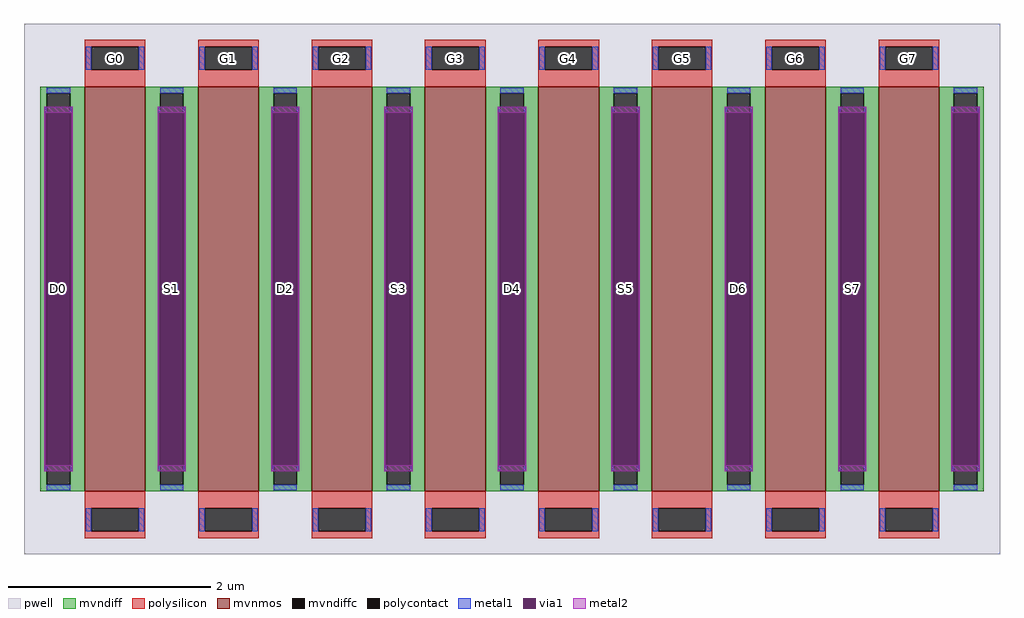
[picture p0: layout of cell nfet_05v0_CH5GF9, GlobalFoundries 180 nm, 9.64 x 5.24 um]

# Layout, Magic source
magic
tech gf180mcuD
magscale 1 10
<< pwell >>
rect -964 -524 964 524
<< mvnmos >>
rect -844 -400 -724 400
rect -620 -400 -500 400
rect -396 -400 -276 400
rect -172 -400 -52 400
rect 52 -400 172 400
rect 276 -400 396 400
rect 500 -400 620 400
rect 724 -400 844 400
<< mvndiff >>
rect -932 387 -844 400
rect -932 -387 -919 387
rect -873 -387 -844 387
rect -932 -400 -844 -387
rect -724 387 -620 400
rect -724 -387 -695 387
rect -649 -387 -620 387
rect -724 -400 -620 -387
rect -500 387 -396 400
rect -500 -387 -471 387
rect -425 -387 -396 387
rect -500 -400 -396 -387
rect -276 387 -172 400
rect -276 -387 -247 387
rect -201 -387 -172 387
rect -276 -400 -172 -387
rect -52 387 52 400
rect -52 -387 -23 387
rect 23 -387 52 387
rect -52 -400 52 -387
rect 172 387 276 400
rect 172 -387 201 387
rect 247 -387 276 387
rect 172 -400 276 -387
rect 396 387 500 400
rect 396 -387 425 387
rect 471 -387 500 387
rect 396 -400 500 -387
rect 620 387 724 400
rect 620 -387 649 387
rect 695 -387 724 387
rect 620 -400 724 -387
rect 844 387 932 400
rect 844 -387 873 387
rect 919 -387 932 387
rect 844 -400 932 -387
<< mvndiffc >>
rect -919 -387 -873 387
rect -695 -387 -649 387
rect -471 -387 -425 387
rect -247 -387 -201 387
rect -23 -387 23 387
rect 201 -387 247 387
rect 425 -387 471 387
rect 649 -387 695 387
rect 873 -387 919 387
<< polysilicon >>
rect -844 479 -724 492
rect -844 433 -831 479
rect -737 433 -724 479
rect -844 400 -724 433
rect -620 479 -500 492
rect -620 433 -607 479
rect -513 433 -500 479
rect -620 400 -500 433
rect -396 479 -276 492
rect -396 433 -383 479
rect -289 433 -276 479
rect -396 400 -276 433
rect -172 479 -52 492
rect -172 433 -159 479
rect -65 433 -52 479
rect -172 400 -52 433
rect 52 479 172 492
rect 52 433 65 479
rect 159 433 172 479
rect 52 400 172 433
rect 276 479 396 492
rect 276 433 289 479
rect 383 433 396 479
rect 276 400 396 433
rect 500 479 620 492
rect 500 433 513 479
rect 607 433 620 479
rect 500 400 620 433
rect 724 479 844 492
rect 724 433 737 479
rect 831 433 844 479
rect 724 400 844 433
rect -844 -433 -724 -400
rect -844 -479 -831 -433
rect -737 -479 -724 -433
rect -844 -492 -724 -479
rect -620 -433 -500 -400
rect -620 -479 -607 -433
rect -513 -479 -500 -433
rect -620 -492 -500 -479
rect -396 -433 -276 -400
rect -396 -479 -383 -433
rect -289 -479 -276 -433
rect -396 -492 -276 -479
rect -172 -433 -52 -400
rect -172 -479 -159 -433
rect -65 -479 -52 -433
rect -172 -492 -52 -479
rect 52 -433 172 -400
rect 52 -479 65 -433
rect 159 -479 172 -433
rect 52 -492 172 -479
rect 276 -433 396 -400
rect 276 -479 289 -433
rect 383 -479 396 -433
rect 276 -492 396 -479
rect 500 -433 620 -400
rect 500 -479 513 -433
rect 607 -479 620 -433
rect 500 -492 620 -479
rect 724 -433 844 -400
rect 724 -479 737 -433
rect 831 -479 844 -433
rect 724 -492 844 -479
<< polycontact >>
rect -831 433 -737 479
rect -607 433 -513 479
rect -383 433 -289 479
rect -159 433 -65 479
rect 65 433 159 479
rect 289 433 383 479
rect 513 433 607 479
rect 737 433 831 479
rect -831 -479 -737 -433
rect -607 -479 -513 -433
rect -383 -479 -289 -433
rect -159 -479 -65 -433
rect 65 -479 159 -433
rect 289 -479 383 -433
rect 513 -479 607 -433
rect 737 -479 831 -433
<< metal1 >>
rect -842 433 -831 479
rect -737 433 -726 479
rect -618 433 -607 479
rect -513 433 -502 479
rect -394 433 -383 479
rect -289 433 -278 479
rect -170 433 -159 479
rect -65 433 -54 479
rect 54 433 65 479
rect 159 433 170 479
rect 278 433 289 479
rect 383 433 394 479
rect 502 433 513 479
rect 607 433 618 479
rect 726 433 737 479
rect 831 433 842 479
rect -919 387 -873 398
rect -922 348 -919 360
rect -695 387 -649 398
rect -873 348 -870 360
rect -922 -360 -919 -348
rect -873 -360 -870 -348
rect -698 348 -695 360
rect -471 387 -425 398
rect -649 348 -646 360
rect -698 -360 -695 -348
rect -919 -398 -873 -387
rect -649 -360 -646 -348
rect -474 348 -471 360
rect -247 387 -201 398
rect -425 348 -422 360
rect -474 -360 -471 -348
rect -695 -398 -649 -387
rect -425 -360 -422 -348
rect -250 348 -247 360
rect -23 387 23 398
rect -201 348 -198 360
rect -250 -360 -247 -348
rect -471 -398 -425 -387
rect -201 -360 -198 -348
rect -26 348 -23 360
rect 201 387 247 398
rect 23 348 26 360
rect -26 -360 -23 -348
rect -247 -398 -201 -387
rect 23 -360 26 -348
rect 198 348 201 360
rect 425 387 471 398
rect 247 348 250 360
rect 198 -360 201 -348
rect -23 -398 23 -387
rect 247 -360 250 -348
rect 422 348 425 360
rect 649 387 695 398
rect 471 348 474 360
rect 422 -360 425 -348
rect 201 -398 247 -387
rect 471 -360 474 -348
rect 646 348 649 360
rect 873 387 919 398
rect 695 348 698 360
rect 646 -360 649 -348
rect 425 -398 471 -387
rect 695 -360 698 -348
rect 870 348 873 360
rect 919 348 922 360
rect 870 -360 873 -348
rect 649 -398 695 -387
rect 919 -360 922 -348
rect 873 -398 919 -387
rect -842 -479 -831 -433
rect -737 -479 -726 -433
rect -618 -479 -607 -433
rect -513 -479 -502 -433
rect -394 -479 -383 -433
rect -289 -479 -278 -433
rect -170 -479 -159 -433
rect -65 -479 -54 -433
rect 54 -479 65 -433
rect 159 -479 170 -433
rect 278 -479 289 -433
rect 383 -479 394 -433
rect 502 -479 513 -433
rect 607 -479 618 -433
rect 726 -479 737 -433
rect 831 -479 842 -433
<< via1 >>
rect -922 -348 -919 348
rect -919 -348 -873 348
rect -873 -348 -870 348
rect -698 -348 -695 348
rect -695 -348 -649 348
rect -649 -348 -646 348
rect -474 -348 -471 348
rect -471 -348 -425 348
rect -425 -348 -422 348
rect -250 -348 -247 348
rect -247 -348 -201 348
rect -201 -348 -198 348
rect -26 -348 -23 348
rect -23 -348 23 348
rect 23 -348 26 348
rect 198 -348 201 348
rect 201 -348 247 348
rect 247 -348 250 348
rect 422 -348 425 348
rect 425 -348 471 348
rect 471 -348 474 348
rect 646 -348 649 348
rect 649 -348 695 348
rect 695 -348 698 348
rect 870 -348 873 348
rect 873 -348 919 348
rect 919 -348 922 348
<< metal2 >>
rect -924 348 -868 360
rect -924 -348 -922 348
rect -870 -348 -868 348
rect -924 -360 -868 -348
rect -700 348 -644 360
rect -700 -348 -698 348
rect -646 -348 -644 348
rect -700 -360 -644 -348
rect -476 348 -420 360
rect -476 -348 -474 348
rect -422 -348 -420 348
rect -476 -360 -420 -348
rect -252 348 -196 360
rect -252 -348 -250 348
rect -198 -348 -196 348
rect -252 -360 -196 -348
rect -28 348 28 360
rect -28 -348 -26 348
rect 26 -348 28 348
rect -28 -360 28 -348
rect 196 348 252 360
rect 196 -348 198 348
rect 250 -348 252 348
rect 196 -360 252 -348
rect 420 348 476 360
rect 420 -348 422 348
rect 474 -348 476 348
rect 420 -360 476 -348
rect 644 348 700 360
rect 644 -348 646 348
rect 698 -348 700 348
rect 644 -360 700 -348
rect 868 348 924 360
rect 868 -348 870 348
rect 922 -348 924 348
rect 868 -360 924 -348
<< labels >>
rlabel mvndiffc -896 0 -896 0 0 D0
port 1 nsew
rlabel polycontact -784 456 -784 456 0 G0
port 2 nsew
rlabel mvndiffc -672 0 -672 0 0 S1
port 3 nsew
rlabel polycontact -560 456 -560 456 0 G1
port 4 nsew
rlabel mvndiffc -448 0 -448 0 0 D2
port 5 nsew
rlabel polycontact -336 456 -336 456 0 G2
port 6 nsew
rlabel mvndiffc -224 0 -224 0 0 S3
port 7 nsew
rlabel polycontact -112 456 -112 456 0 G3
port 8 nsew
rlabel mvndiffc 0 0 0 0 0 D4
port 9 nsew
rlabel polycontact 112 456 112 456 0 G4
port 10 nsew
rlabel mvndiffc 224 0 224 0 0 S5
port 11 nsew
rlabel polycontact 336 456 336 456 0 G5
port 12 nsew
rlabel mvndiffc 448 0 448 0 0 D6
port 13 nsew
rlabel polycontact 560 456 560 456 0 G6
port 14 nsew
rlabel mvndiffc 672 0 672 0 0 S7
port 15 nsew
rlabel polycontact 784 456 784 456 0 G7
port 16 nsew
<< properties >>
string gencell nfet_05v0
string library gf180mcu
string parameters w 4.0 l 0.6 m 1 nf 8 diffcov 100 polycov 100 guard 0 glc 0 grc 0 gtc 0 gbc 0 tbcov 100 rlcov 100 topc 1 botc 1 poverlap 0 doverlap 1 lmin 0.6 wmin 0.3 class mosfet full_metal 0 viasrc 90 viadrn 90 viagate 0 viagb 0 viagr 0 viagl 0 viagt 0 doports 1 compatible {nfet_03v3 nfet_05v0 nfet_06v0 nfet_06v0_nvt}
<< end >>
